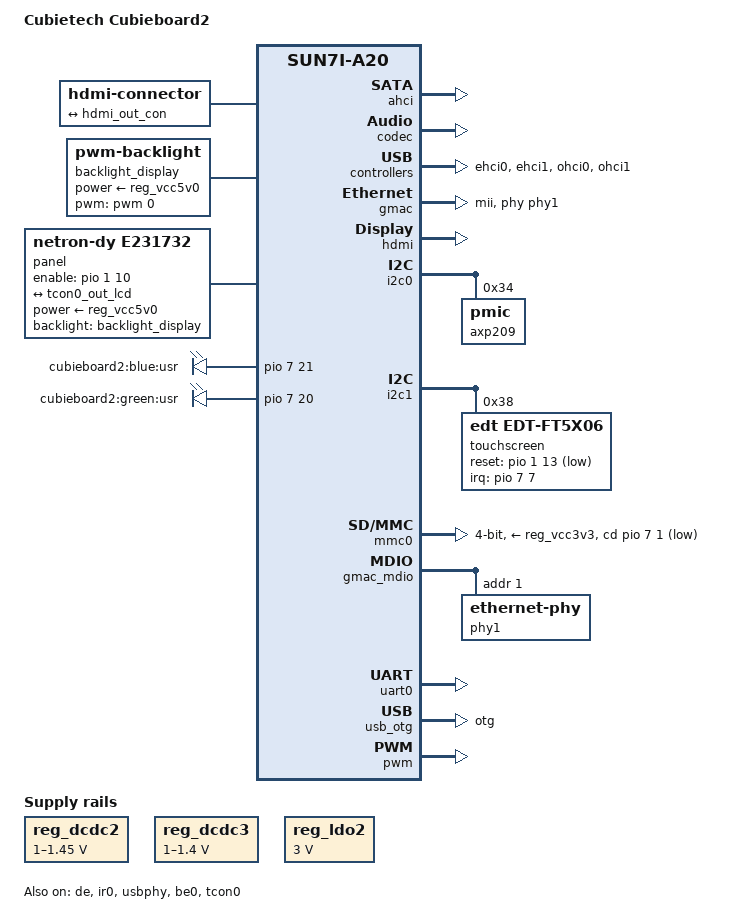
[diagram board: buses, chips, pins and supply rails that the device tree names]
/*
 * Copyright 2013 Maxime Ripard <maxime.ripard@free-electrons.com>
 * Copyright 2020 HandsomeYingyan <handsomeyingyan@gmail.com>
 *
 * This file is dual-licensed: you can use it either under the terms
 * of the GPL or the X11 license, at your option. Note that this dual
 * licensing only applies to this file, and not this project as a
 * whole.
 *
 *  a) This file is free software; you can redistribute it and/or
 *     modify it under the terms of the GNU General Public License as
 *     published by the Free Software Foundation; either version 2 of the
 *     License, or (at your option) any later version.
 *
 *     This file is distributed in the hope that it will be useful,
 *     but WITHOUT ANY WARRANTY; without even the implied warranty of
 *     MERCHANTABILITY or FITNESS FOR A PARTICULAR PURPOSE.  See the
 *     GNU General Public License for more details.
 *
 * Or, alternatively,
 *
 *  b) Permission is hereby granted, free of charge, to any person
 *     obtaining a copy of this software and associated documentation
 *     files (the "Software"), to deal in the Software without
 *     restriction, including without limitation the rights to use,
 *     copy, modify, merge, publish, distribute, sublicense, and/or
 *     sell copies of the Software, and to permit persons to whom the
 *     Software is furnished to do so, subject to the following
 *     conditions:
 *
 *     The above copyright notice and this permission notice shall be
 *     included in all copies or substantial portions of the Software.
 *
 *     THE SOFTWARE IS PROVIDED "AS IS", WITHOUT WARRANTY OF ANY KIND,
 *     EXPRESS OR IMPLIED, INCLUDING BUT NOT LIMITED TO THE WARRANTIES
 *     OF MERCHANTABILITY, FITNESS FOR A PARTICULAR PURPOSE AND
 *     NONINFRINGEMENT. IN NO EVENT SHALL THE AUTHORS OR COPYRIGHT
 *     HOLDERS BE LIABLE FOR ANY CLAIM, DAMAGES OR OTHER LIABILITY,
 *     WHETHER IN AN ACTION OF CONTRACT, TORT OR OTHERWISE, ARISING
 *     FROM, OUT OF OR IN CONNECTION WITH THE SOFTWARE OR THE USE OR
 *     OTHER DEALINGS IN THE SOFTWARE.
 */

/dts-v1/;
#include "sun7i-a20.dtsi"
#include "sunxi-common-regulators.dtsi"

#include <dt-bindings/gpio/gpio.h>
#include <dt-bindings/interrupt-controller/irq.h>

/ {
	model = "Cubietech Cubieboard2";
	compatible = "cubietech,cubieboard2", "allwinner,sun7i-a20";

	aliases {
		serial0 = &uart0;
	};

	chosen {
		stdout-path = "serial0:115200n8";
	};

	hdmi-connector {
		compatible = "hdmi-connector";
		type = "a";

		port {
			hdmi_con_in: endpoint {
				remote-endpoint = <&hdmi_out_con>;
			};
		};
	};

	backlight_display: backlight_display {
		compatible = "pwm-backlight";
		pwms = <&pwm 0 10000000 0>;
		power-supply = <&reg_vcc5v0>;

		brightness-levels = <0 64 93 122 151 180 209 240>;
		default-brightness-level = <7>;
	};

	panel: panel {
		compatible = "netron-dy,e231732", "simple-panel";
		backlight = <&backlight_display>;
		power-supply = <&reg_vcc5v0>;

		pinctrl-names = "default";
		pinctrl-0 = <&lcd_enable_pin &lcd_rgb666_pins>;
		enable-gpios = <&pio 1 10 GPIO_ACTIVE_HIGH>; /* PB10 */

		#address-cells = <1>;
		#size-cells = <0>;

		port {
			#address-cells = <1>;
			#size-cells = <0>;

			panel_input: endpoint {
				remote-endpoint = <&tcon0_out_lcd>;
			};
		};
	};


	leds {
		compatible = "gpio-leds";

		blue {
			label = "cubieboard2:blue:usr";
			gpios = <&pio 7 21 GPIO_ACTIVE_HIGH>;
		};

		green {
			label = "cubieboard2:green:usr";
			gpios = <&pio 7 20 GPIO_ACTIVE_HIGH>;
		};
	};
};

&ahci {
	target-supply = <&reg_ahci_5v>;
	status = "okay";
};

&codec {
	status = "okay";
};

&cpu0 {
	cpu-supply = <&reg_dcdc2>;
};

&de {
	status = "okay";
};

&ehci0 {
	status = "okay";
};

&ehci1 {
	status = "okay";
};

&gmac {
	pinctrl-names = "default";
	pinctrl-0 = <&gmac_mii_pins>;
	phy-handle = <&phy1>;
	phy-mode = "mii";
	status = "okay";
};

&hdmi {
	status = "okay";
};

&hdmi_out {
	hdmi_out_con: endpoint {
		remote-endpoint = <&hdmi_con_in>;
	};
};

&i2c0 {
	status = "okay";

	axp209: pmic@34 {
		reg = <0x34>;
		interrupt-parent = <&nmi_intc>;
		interrupts = <0 IRQ_TYPE_LEVEL_LOW>;
	};
};

&i2c1 {
	#address-cells = <1>;
	#size-cells = <0>;
	status = "okay";
        /*DVK522 board has a ft5206 touchscreen*/
	touchscreen@38 {
        compatible = "edt,edt-ft5x06";
	pinctrl-names = "default";
	pinctrl-0 = <&edt_ft5x06_pins_a &edt_ft5x06_pins_b>;
	reg = <0x38>;
	interrupt-parent = <&pio>;
	interrupts = <7 7 IRQ_TYPE_EDGE_FALLING>; /* PH7 */
	reset-gpios = <&pio 1 13 GPIO_ACTIVE_LOW>; /* RST (PB13) */
	touchscreen-size-x = <1024>;
	touchscreen-size-y = <600>;
        touchscreen-inverted-y;
	status = "okay";
     };
};

&ir0 {
	pinctrl-names = "default";
	pinctrl-0 = <&ir0_rx_pin>;
	status = "okay";
};



&mmc0 {
	vmmc-supply = <&reg_vcc3v3>;
	bus-width = <4>;
	cd-gpios = <&pio 7 1 GPIO_ACTIVE_LOW>; /* PH1 */
	status = "okay";
};

&gmac_mdio {
	phy1: ethernet-phy@1 {
		reg = <1>;
	};
};

&ohci0 {
	status = "okay";
};

&ohci1 {
	status = "okay";
};

&otg_sram {
	status = "okay";
};

&reg_ahci_5v {
	status = "okay";
};

#include "axp209.dtsi"

&ac_power_supply {
	status = "okay";
};

&reg_dcdc2 {
	regulator-always-on;
	regulator-min-microvolt = <1000000>;
	regulator-max-microvolt = <1450000>;
	regulator-name = "vdd-cpu";
};

&reg_dcdc3 {
	regulator-always-on;
	regulator-min-microvolt = <1000000>;
	regulator-max-microvolt = <1400000>;
	regulator-name = "vdd-int-dll";
};

&reg_ldo1 {
	regulator-name = "vdd-rtc";
};

&reg_ldo2 {
	regulator-always-on;
	regulator-min-microvolt = <3000000>;
	regulator-max-microvolt = <3000000>;
	regulator-name = "avcc";
};

&reg_usb1_vbus {
	status = "okay";
};

&reg_usb2_vbus {
	status = "okay";
};

&pio {

    edt_ft5x06_pins_a: ft5@0 {
        pins = "PH7";
        function = "irq";
        drive-strength = <20>;
        bias-pull-up;
    };

    edt_ft5x06_pins_b: ft5@1 {
        pins = "PB13";
        function = "gpio_out";
        drive-strength = <20>;
        bias-pull-up;
        output-high;
    };

};

&uart0 {
	pinctrl-names = "default";
	pinctrl-0 = <&uart0_pb_pins>;
	status = "okay";
};

&usb_otg {
	dr_mode = "otg";
	status = "okay";
};

&usbphy {
	usb0_id_det-gpios = <&pio 7 4 (GPIO_ACTIVE_HIGH | GPIO_PULL_UP)>; /* PH4 */
	usb1_vbus-supply = <&reg_usb1_vbus>;
	usb2_vbus-supply = <&reg_usb2_vbus>;
	status = "okay";
};

&pwm {
	pinctrl-names = "default";
	pinctrl-0 = <&pwm0_pin>;
	status = "okay";
};


&be0 {
	status = "okay";
};

&tcon0 {
	pinctrl-names = "default";
	pinctrl-0 = <&lcd_rgb666_pins>;
	status = "okay";
};

&tcon0_out {
	tcon0_out_lcd: endpoint@0 {
		reg = <0>;
		remote-endpoint = <&panel_input>;
	};
};

